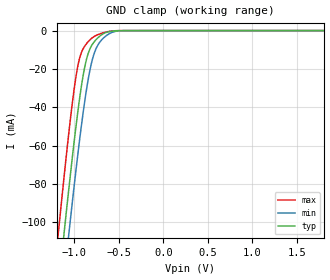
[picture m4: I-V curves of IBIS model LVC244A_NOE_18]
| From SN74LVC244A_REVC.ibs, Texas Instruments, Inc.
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[Model]   LVC244A_NOE_18
Model_type  Input
Vinl=0.5775
Vinh=1.2675
| variable   typ   min   max
C_comp   2.67pF   2.18pF   3.26pF
[Temperature Range]   40   100   -40
| Ambient temperature   25   85   -40
[Voltage range]   1.8   1.65   1.95
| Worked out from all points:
|   GND clamp passes 1 mA (typ) near -0.64 V on its own axis
[GND Clamp]
| LVC244A_NOE_18
|   Voltage   I(typ)   I(min)   I(max)
-5.5V     -2.303A    -2.296A    -2.31A
-1.18V    -134.8mA   -158.2mA   -105.7mA
-1.115V   -105.6mA   -129.2mA   -76.15mA
-1.07V    -85.97mA   -109.6mA   -56.7mA
-1.055V   -79.59mA   -103.1mA   -50.5mA
-965mV    -43.83mA   -66.22mA   -19.51mA
-875mV    -17.2mA    -34.23mA   -7.542mA
-820mV    -9.056mA   -19.54mA   -4.611mA
-775mV    -5.72mA    -11.65mA   -3.005mA
-645mV    -1.023mA   -2.792mA   -765uA
-435mV    -12.49uA   -27.87uA   -3.401uA
1.8V      41.95pA    147.7pA    23.47pA
